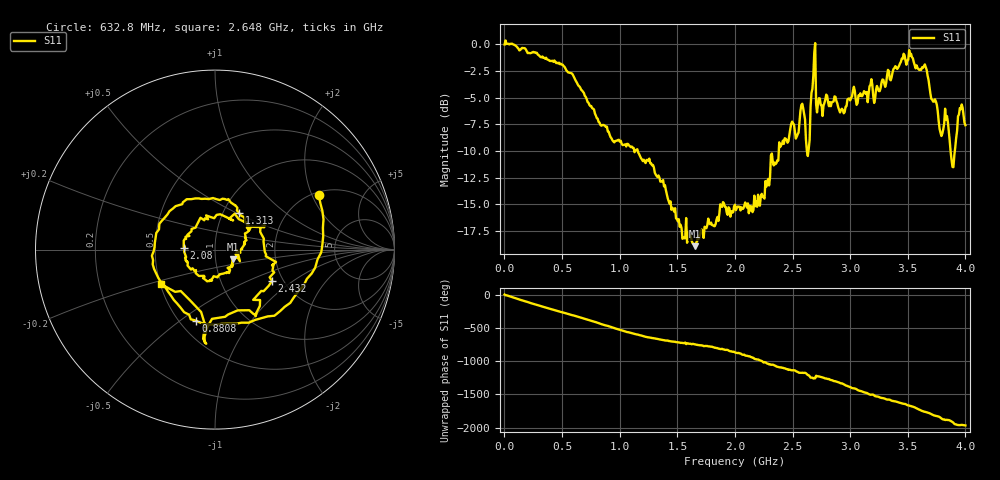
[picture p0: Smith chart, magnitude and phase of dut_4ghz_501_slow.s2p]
! PocketVna 1.54  pocketvna.com
! Live measurements ((Reflection-S11) Linear 1000000-4000000000/501 calibrated)
# Hz S DB R 50
! Hz  dBS11  <S11  dBS21  <S21  dBS12  <S12  dBS22  <S22
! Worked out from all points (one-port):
!   501 points, 1 MHz to 4 GHz, reference 50 ohm
!   lowest |S11| = -18.9 dB at 1.657 GHz (marker M1), VSWR 1.25, Z = 60.6 - j6.72 ohm
!   |S11| at or under -10 dB: 1.157 GHz to 2.381 GHz (1.224 GHz wide, 69.2 % of centre); 2.624 GHz to 2.638 GHz (13.77 MHz wide, 0.523 % of centre); 3.871 GHz to 3.908 GHz (37.02 MHz wide, 0.952 % of centre)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
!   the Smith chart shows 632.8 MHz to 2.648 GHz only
!   S11 on the Smith chart (normalised r, x): 632.8 MHz: 2.11, +2.25; 880.8 MHz: 0.60, -0.57; 1.313 GHz: 1.19, +0.52; 2.08 GHz: 0.70, +0.02; 2.432 GHz: 1.75, -0.70; 2.648 GHz: 0.50, -0.22
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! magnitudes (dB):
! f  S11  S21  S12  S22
! 1 MHz  0.0  -  -  -
! 632.8 MHz  -3.7  -  -  -
! 672.8 MHz  -4.3  -  -  -
! 880.8 MHz  -7.8  -  -  -
! 1.313 GHz  -12.2  -  -  -
! 1.337 GHz  -12.3  -  -  -
! 1.657 GHz  -18.9  -  -  -
! 2.001 GHz  -15.0  -  -  -
! 2.08 GHz  -15.2  -  -  -
! 2.432 GHz  -8.8  -  -  -
! 2.584 GHz  -5.6  -  -  -
! 2.632 GHz  -10.5  -  -  -
! 2.648 GHz  -8.9  -  -  -
! 2.672 GHz  -4.2  -  -  -
! 2.936 GHz  -6.2  -  -  -
! 3.336 GHz  -2.5  -  -  -
! 3.648 GHz  -1.9  -  -  -
! 3.784 GHz  -8.3  -  -  -
! 3.84 GHz  -6.7  -  -  -
! 3.888 GHz  -11.5  -  -  -
! 3.952 GHz  -6.0  -  -  -
! 4 GHz  -7.6  -  -  -
